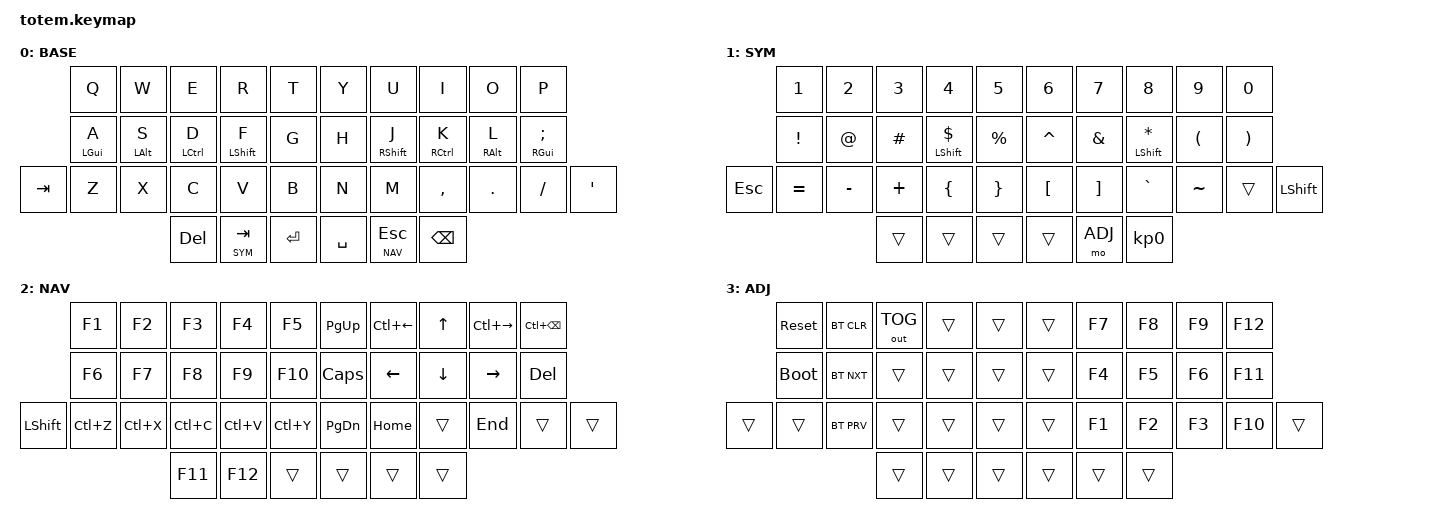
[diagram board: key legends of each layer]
//
//                                                        ▀▀▀▀▀     ▀▀▀▀▀          ▀▀█▀▀
//                                                        ▄▀▀▀▄  ▄  ▄▀▀▀▄  ▄  ▄▀▀▀▄  █  ▄▀▀▀▄
//                                                        █   █  █  █   █  █  █   █  █  █   █
//                                                         ▀▀▀   █   ▀▀▀   █   ▀▀▀   ▀   ▀▀▀
//                                                               █      ▄▄▄█▄▄▄    █   █  
//                                                               ▀      █  █  █     █▄█
//                                                             ▀▀▀▀▀    █  █  █      ▀
//                                                                      ▀  ▀  ▀
//
// ▄▄▄▄▄▄▄▄▄▄▄▄▄▄▄▄▄▄▄▄▄▄▄▄▄▄▄▄▄▄▄▄▄▄▄▄▄▄▄▄▄▄▄▄▄▄▄▄▄▄▄▄▄▄▄▄▄▄▄▄▄▄▄▄▄▄▄▄▄▄▄▄▄▄▄▄▄▄▄▄▄▄▄▄▄▄▄▄▄▄▄▄▄▄▄▄▄▄▄▄▄▄▄▄▄▄▄▄▄▄▄▄▄▄▄▄▄▄▄▄▄▄▄▄▄▄▄▄▄▄▄▄▄▄▄▄▄▄▄▄▄▄▄▄▄▄▄▄▄
       

#include <behaviors.dtsi>
#include <dt-bindings/zmk/keys.h>
#include <dt-bindings/zmk/bt.h>
#include <dt-bindings/zmk/outputs.h>

#define BASE 0
#define NAV  2
#define SYM  1
#define ADJ  3

&mt {
  quick-tap-ms = <100>;
  global-quick-tap;
  flavor = "tap-preferred";
  tapping-term-ms = <170>;
};

/ {
     combos {
            compatible = "zmk,combos";
            combo_esc {
                timeout-ms = <50>;
                key-positions = <0 1>;
                bindings = <&kp ESC>;
            };
            delete {
                timeout-ms = <50>;
                bindings = <&kp BACKSPACE>;
                key-positions = <19 18>;
            };
    };

    macros {
        gif: gif {
            label = "giphy";
            compatible = "zmk,behavior-macro";
            #binding-cells = <0>;
            bindings
                = <&macro_press &kp LSHFT>
                , <&macro_tap &kp N2>
                , <&macro_release &kp LSHFT>
                , <&macro_tap &kp G &kp I &kp F>
                ;
        };
    };

        keymap {
                compatible = "zmk,keymap";
// ▄▄▄▄▄▄▄▄▄▄▄▄▄▄▄▄▄▄▄▄▄▄▄▄▄▄▄▄▄▄▄▄▄▄▄▄▄▄▄▄▄▄▄▄▄▄▄▄▄▄▄▄▄▄▄▄▄▄▄▄▄▄▄▄▄▄▄▄▄▄▄▄▄▄▄▄▄▄▄▄▄▄▄▄▄▄▄▄▄▄▄▄▄▄▄▄▄▄▄▄▄▄▄▄▄▄▄▄▄▄▄▄▄▄▄▄▄▄▄▄▄▄▄▄▄▄▄▄▄▄▄▄▄▄▄▄▄▄▄▄▄▄▄▄▄▄▄▄▄

                base_layer {
// ┏━━━━━━━━━━━━━━━━━━━━━━━━━━━━━━━━━━━━━━━┓
label= "BASE"                              ;
// ┗━━━━━━━━━━━━━━━━━━━━━━━━━━━━━━━━━━━━━━━┛
//             ┏━━━━━━━━━━━┳━━━━━━━━━━━┳━━━━━━━━━━━┳━━━━━━━━━━━┳━━━━━━━━━━━┓   ┏━━━━━━━━━━━┳━━━━━━━━━━━┳━━━━━━━━━━━┳━━━━━━━━━━━┳━━━━━━━━━━━┓
//             ┃     Q     ┃     W     ┃     E     ┃     R     ┃     T     ┃   ┃     Y     ┃     U     ┃     I     ┃     O     ┃     P     ┃
//             ┣━━━━━━━━━━━╋━━━━━━━━━━━╋━━━━━━━━━━━╋━━━━━━━━━━━╋━━━━━━━━━━━┫   ┣━━━━━━━━━━━╋━━━━━━━━━━━╋━━━━━━━━━━━╋━━━━━━━━━━━╋━━━━━━━━━━━┫
//             ┃     A     ┃     S     ┃     D     ┃     F     ┃     G     ┃   ┃     H     ┃     J     ┃     K     ┃     L     ┃     ;     ┃
// ┏━━━━━━━━━━━╋━━━━━━━━━━━╋━━━━━━━━━━━╋━━━━━━━━━━━╋━━━━━━━━━━━╋━━━━━━━━━━━┫   ┣━━━━━━━━━━━╋━━━━━━━━━━━╋━━━━━━━━━━━╋━━━━━━━━━━━╋━━━━━━━━━━━╋━━━━━━━━━━━┓
// ┃     TAB   ┃     Z     ┃     X     ┃     C     ┃     V     ┃     B     ┃   ┃     N     ┃     M     ┃     ,     ┃     .     ┃     /     ┃     '     ┃
// ┗━━━━━━━━━━━┻━━━━━━━━━━━┻━━━━━━━━━━━╋━━━━━━━━━━━╋━━━━━━━━━━━╋━━━━━━━━━━━┫   ┣━━━━━━━━━━━╋━━━━━━━━━━━╋━━━━━━━━━━━╋━━━━━━━━━━━┻━━━━━━━━━━━┻━━━━━━━━━━━┛
//                                     ┃    DEL    ┃    TAB    ┃    ENTER  ┃   ┃   SPC     ┃    ESC    ┃   BSPC    ┃
//                                     ┗━━━━━━━━━━━┻━━━━━━━━━━━┻━━━━━━━━━━━┛   ┗━━━━━━━━━━━┻━━━━━━━━━━━┻━━━━━━━━━━━┛
 bindings = <
// ╷           ╷           ╷           ╷           ╷           ╷           ╷   ╷           ╷           ╷           ╷           ╷           ╷           ╷

                &kp Q       &kp W       &kp E       &kp R       &kp T           &kp Y       &kp U       &kp I       &kp O       &kp P
                &mt LGUI A  &mt LALT S  &mt LCTRL D &mt LSHFT F &kp G           &kp H       &mt RSHFT J &mt RCTRL K &mt RALT L  &mt RGUI SEMI
    &kp TAB     &kp Z       &kp X       &kp C       &kp V       &kp B           &kp N       &kp M       &kp COMMA   &kp DOT     &kp FSLH    &kp SQT
                                        &kp DEL     &lt SYM TAB &kp RET         &kp SPACE   &lt NAV ESC &kp BSPC
                        >;
                };

// ▄▄▄▄▄▄▄▄▄▄▄▄▄▄▄▄▄▄▄▄▄▄▄▄▄▄▄▄▄▄▄▄▄▄▄▄▄▄▄▄▄▄▄▄▄▄▄▄▄▄▄▄▄▄▄▄▄▄▄▄▄▄▄▄▄▄▄▄▄▄▄▄▄▄▄▄▄▄▄▄▄▄▄▄▄▄▄▄▄▄▄▄▄▄▄▄▄▄▄▄▄▄▄▄▄▄▄▄▄▄▄▄▄▄▄▄▄▄▄▄▄▄▄▄▄▄▄▄▄▄▄▄▄▄▄▄▄▄▄▄▄▄▄▄▄▄▄▄▄


               sim_layer {
// ┏━━━━━━━━━━━━━━━━━━━━━━━━━━━━━━━━━━━━━━━┓
label= "SYM"                              ;
// ┗━━━━━━━━━━━━━━━━━━━━━━━━━━━━━━━━━━━━━━━┛
//             ┏━━━━━━━━━━━┳━━━━━━━━━━━┳━━━━━━━━━━━┳━━━━━━━━━━━┳━━━━━━━━━━━┓   ┏━━━━━━━━━━━┳━━━━━━━━━━━┳━━━━━━━━━━━┳━━━━━━━━━━━┳━━━━━━━━━━━┓
//             ┃     1     ┃     2     ┃     3     ┃     4     ┃     5     ┃   ┃     6     ┃     7     ┃     8     ┃     9     ┃     0     ┃
//             ┣━━━━━━━━━━━╋━━━━━━━━━━━╋━━━━━━━━━━━╋━━━━━━━━━━━╋━━━━━━━━━━━┫   ┣━━━━━━━━━━━╋━━━━━━━━━━━╋━━━━━━━━━━━╋━━━━━━━━━━━╋━━━━━━━━━━━┫
//             ┃     !     ┃     @     ┃     #     ┃     $     ┃     %     ┃   ┃     ^     ┃     &     ┃     *     ┃     (     ┃     )     ┃
// ┏━━━━━━━━━━━╋━━━━━━━━━━━╋━━━━━━━━━━━╋━━━━━━━━━━━╋━━━━━━━━━━━╋━━━━━━━━━━━┫   ┣━━━━━━━━━━━╋━━━━━━━━━━━╋━━━━━━━━━━━╋━━━━━━━━━━━╋━━━━━━━━━━━╋━━━━━━━━━━━┓
// ┃    ESC    ┃     =     ┃     -     ┃     +     ┃     {     ┃     }     ┃   ┃     [     ┃     ]     ┃     `     ┃     ~     ┃     \     ┃   LSHFT   ┃
// ┗━━━━━━━━━━━┻━━━━━━━━━━━┻━━━━━━━━━━━╋━━━━━━━━━━━╋━━━━━━━━━━━╋━━━━━━━━━━━┫   ┣━━━━━━━━━━━╋━━━━━━━━━━━╋━━━━━━━━━━━╋━━━━━━━━━━━┻━━━━━━━━━━━┻━━━━━━━━━━━┛
//                                     ┃           ┃           ┃           ┃   ┃           ┃    ADJ    ┃     0     ┃
//                                     ┗━━━━━━━━━━━┻━━━━━━━━━━━┻━━━━━━━━━━━┛   ┗━━━━━━━━━━━┻━━━━━━━━━━━┻━━━━━━━━━━━┛
 bindings = <
// ╷           ╷           ╷            ╷              ╷           ╷           ╷   ╷           ╷           ╷           ╷           ╷           ╷           ╷

                &kp N1        &kp N2      &kp N3         &kp N4        &kp N5           &kp N6         &kp N7        &kp N8        &kp N9        &kp N0
                &kp EXCL  &kp AT  &kp HASH  &mt LSHFT DLLR  &kp PRCNT    &kp CARET  &kp AMPS  &mt LSHFT STAR  &kp LPAR  &kp RPAR
    &kp ESCAPE  &kp EQUAL     &kp MINUS   &kp PLUS   &kp LBRC  &kp RBRC     &kp LBKT       &kp RBKT      &kp GRAVE     &kp TILDE &trans        &kp LSHFT
                                          &trans         &trans       &trans           &trans        &mo ADJ     &kp KP_N0
                        >;
                };



// ▄▄▄▄▄▄▄▄▄▄▄▄▄▄▄▄▄▄▄▄▄▄▄▄▄▄▄▄▄▄▄▄▄▄▄▄▄▄▄▄▄▄▄▄▄▄▄▄▄▄▄▄▄▄▄▄▄▄▄▄▄▄▄▄▄▄▄▄▄▄▄▄▄▄▄▄▄▄▄▄▄▄▄▄▄▄▄▄▄▄▄▄▄▄▄▄▄▄▄▄▄▄▄▄▄▄▄▄▄▄▄▄▄▄▄▄▄▄▄▄▄▄▄▄▄▄▄▄▄▄▄▄▄▄▄▄▄▄▄▄▄▄▄▄▄▄▄▄▄


                nav_layer {
// ┏━━━━━━━━━━━━━━━━━━━━━━━━━━━━━━━━━━━━━━━┓
label= "NAV"                               ;
// ┗━━━━━━━━━━━━━━━━━━━━━━━━━━━━━━━━━━━━━━━┛
//             ┏━━━━━━━━━━━┳━━━━━━━━━━━┳━━━━━━━━━━━┳━━━━━━━━━━━┳━━━━━━━━━━━┓   ┏━━━━━━━━━━━┳━━━━━━━━━━━┳━━━━━━━━━━━┳━━━━━━━━━━━┳━━━━━━━━━━━┓
//             ┃     F1    ┃     F2    ┃     F3    ┃     F4    ┃     F5    ┃   ┃   PG_UP   ┃ LC(LEFT)  ┃     UP    ┃ LC(RIGHT) ┃  LC(BSPC) ┃
//             ┣━━━━━━━━━━━╋━━━━━━━━━━━╋━━━━━━━━━━━╋━━━━━━━━━━━╋━━━━━━━━━━━┫   ┣━━━━━━━━━━━╋━━━━━━━━━━━╋━━━━━━━━━━━╋━━━━━━━━━━━╋━━━━━━━━━━━┫
//             ┃     F6    ┃     F7    ┃     F8    ┃     F9    ┃    F10    ┃   ┃    CAPS   ┃   LEFT    ┃    DOWN   ┃   RIGHT   ┃    DEL    ┃
// ┏━━━━━━━━━━━╋━━━━━━━━━━━╋━━━━━━━━━━━╋━━━━━━━━━━━╋━━━━━━━━━━━╋━━━━━━━━━━━┫   ┣━━━━━━━━━━━╋━━━━━━━━━━━╋━━━━━━━━━━━╋━━━━━━━━━━━╋━━━━━━━━━━━╋━━━━━━━━━━━┓
// ┃   LSHFT   ┃    LC(Z)  ┃    LC(X)  ┃    LC(C)  ┃    LC(V)  ┃    LC(Y)  ┃   ┃   PG_DN   ┃   HOME    ┃     END   ┃           ┃           ┃           ┃
// ┗━━━━━━━━━━━┻━━━━━━━━━━━┻━━━━━━━━━━━╋━━━━━━━━━━━╋━━━━━━━━━━━╋━━━━━━━━━━━┫   ┣━━━━━━━━━━━╋━━━━━━━━━━━╋━━━━━━━━━━━╋━━━━━━━━━━━┻━━━━━━━━━━━┻━━━━━━━━━━━┛
//                                     ┃    F11    ┃    F12    ┃           ┃   ┃           ┃           ┃           ┃
//                                     ┗━━━━━━━━━━━┻━━━━━━━━━━━┻━━━━━━━━━━━┛   ┗━━━━━━━━━━━┻━━━━━━━━━━━┻━━━━━━━━━━━┛
 bindings = <
// ╷           ╷           ╷           ╷           ╷           ╷           ╷   ╷           ╷           ╷           ╷           ╷           ╷           ╷

                &kp F1     &kp F2     &kp F3     &kp F4     &kp F5               &kp PG_UP   &kp LC(LEFT) &kp UP    &kp LC(RIGHT)  &kp LC(BSPC) 
                &kp F6     &kp F7     &kp F8     &kp F9     &kp F10              &kp CAPS    &kp LEFT     &kp DOWN  &kp RIGHT      &kp DEL
      &kp LSHFT &kp LC(Z)  &kp LC(X)  &kp LC(C)  &kp LC(V)  &kp LC(Y)            &kp PG_DN   &kp HOME     &trans    &kp END        &trans      &trans
                                      &kp F11    &kp F12    &trans               &trans      &trans       &trans
            >;
                };

// ▄▄▄▄▄▄▄▄▄▄▄▄▄▄▄▄▄▄▄▄▄▄▄▄▄▄▄▄▄▄▄▄▄▄▄▄▄▄▄▄▄▄▄▄▄▄▄▄▄▄▄▄▄▄▄▄▄▄▄▄▄▄▄▄▄▄▄▄▄▄▄▄▄▄▄▄▄▄▄▄▄▄▄▄▄▄▄▄▄▄▄▄▄▄▄▄▄▄▄▄▄▄▄▄▄▄▄▄▄▄▄▄▄▄▄▄▄▄▄▄▄▄▄▄▄▄▄▄▄▄▄▄▄▄▄▄▄▄▄▄▄▄▄▄▄▄▄▄▄


                adjust_layer {
// ┏━━━━━━━━━━━━━━━━━━━━━━━━━━━━━━━━━━━━━━━┓
label= "ADJ"                               ;
// ┗━━━━━━━━━━━━━━━━━━━━━━━━━━━━━━━━━━━━━━━┛
//             ┏━━━━━━━━━━━┳━━━━━━━━━━━┳━━━━━━━━━━━┳━━━━━━━━━━━┳━━━━━━━━━━━┓   ┏━━━━━━━━━━━┳━━━━━━━━━━━┳━━━━━━━━━━━┳━━━━━━━━━━━┳━━━━━━━━━━━┓
//             ┃   RESET   ┃ BT CLEAR  ┃  OUT TOG  ┃           ┃           ┃   ┃           ┃    F7     ┃    F8     ┃    F9     ┃    F12    ┃
//             ┣━━━━━━━━━━━╋━━━━━━━━━━━╋━━━━━━━━━━━╋━━━━━━━━━━━╋━━━━━━━━━━━┫   ┣━━━━━━━━━━━╋━━━━━━━━━━━╋━━━━━━━━━━━╋━━━━━━━━━━━╋━━━━━━━━━━━┫
//             ┃ BOOTLOAD  ┃ BT NEXT   ┃           ┃           ┃           ┃   ┃           ┃    F4     ┃    F5     ┃    F6     ┃    F11    ┃
// ┏━━━━━━━━━━━╋━━━━━━━━━━━╋━━━━━━━━━━━╋━━━━━━━━━━━╋━━━━━━━━━━━╋━━━━━━━━━━━┫   ┣━━━━━━━━━━━╋━━━━━━━━━━━╋━━━━━━━━━━━╋━━━━━━━━━━━╋━━━━━━━━━━━╋━━━━━━━━━━━┓
// ┃           ┃           ┃ BT PREV   ┃           ┃           ┃           ┃   ┃           ┃    F1     ┃    F2     ┃    F3     ┃    F10    ┃           ┃
// ┗━━━━━━━━━━━┻━━━━━━━━━━━┻━━━━━━━━━━━╋━━━━━━━━━━━╋━━━━━━━━━━━╋━━━━━━━━━━━┫   ┣━━━━━━━━━━━╋━━━━━━━━━━━╋━━━━━━━━━━━╋━━━━━━━━━━━┻━━━━━━━━━━━┻━━━━━━━━━━━┛
//                                     ┃           ┃           ┃           ┃   ┃           ┃           ┃           ┃
//                                     ┗━━━━━━━━━━━┻━━━━━━━━━━━┻━━━━━━━━━━━┛   ┗━━━━━━━━━━━┻━━━━━━━━━━━┻━━━━━━━━━━━┛
 bindings = <
// ╷           ╷           ╷           ╷           ╷           ╷           ╷   ╷           ╷           ╷           ╷           ╷           ╷           ╷

                &sys_reset  &bt BT_CLR &out OUT_TOG &trans      &trans          &trans      &kp F7      &kp F8      &kp F9      &kp F12
                &bootloader &bt BT_NXT  &trans      &trans      &trans          &trans      &kp F4      &kp F5      &kp F6      &kp F11  
    &trans      &trans      &bt BT_PRV  &trans      &trans      &trans          &trans      &kp F1      &kp F2      &kp F3      &kp F10     &trans         
                                        &trans      &trans      &trans          &trans      &trans      &trans      
                        >;
                };
        };
};


